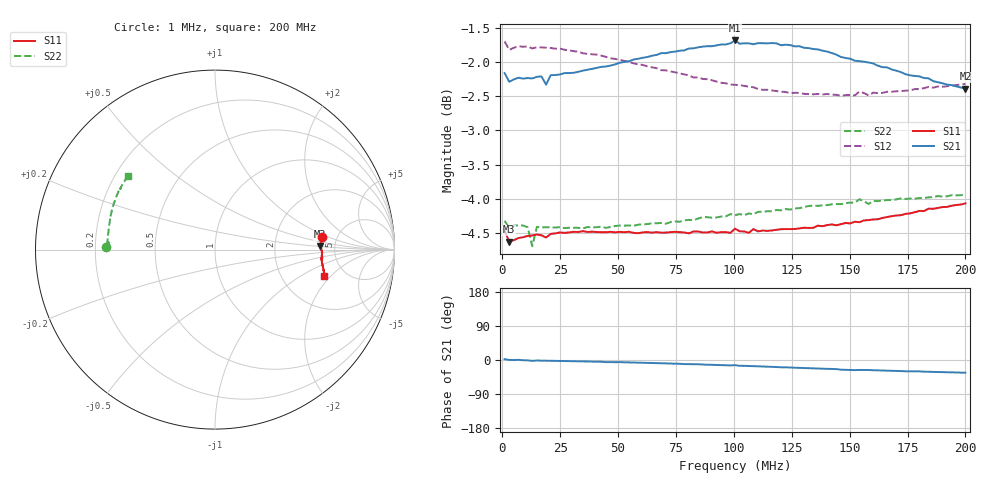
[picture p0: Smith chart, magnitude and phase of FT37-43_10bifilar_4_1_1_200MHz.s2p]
! Created with skrf 2.1.0 (http://scikit-rf.org).
# Hz S RI R 50.0
!freq ReS11 ImS11 ReS21 ImS21 ReS12 ImS12 ReS22 ImS22
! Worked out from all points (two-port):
!   101 points, 1 MHz to 200 MHz, reference 50 ohm
!   highest |S21| = -1.68 dB at 100.5 MHz (marker M1); lowest = -2.4 dB at 200 MHz (marker M2)
!   |S21| within 3 dB of the highest: start of sweep to end of sweep
!   lowest |S11| = -4.6 dB at 2.99 MHz (marker M3), VSWR 3.84, Z = 191 + j10.3 ohm
!   |S11| at or under -10 dB: nowhere
!   |S22| runs from -4.7 to -3.9 dB; largest |S21 - S12| = 0.076
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1000000  0.5944 0.0676  0.7792 0.0314  0.822 0.0324  -0.6077 0.0167
2990000  0.5866 0.0176  0.7685 0.00368  0.811 -0.00469  -0.6007 0.018
6970000  0.5905 0.00846  0.7738 0.00605  0.8162 -0.00304  -0.6029 0.0199
1.095e7  0.5926 0.00352  0.7733 -0.013  0.8152 -0.0283  -0.6007 0.0284
1.294e7  0.5931 0.0021  0.7722 -0.0304  0.8115 -0.048  -0.5806 0.0467
1.493e7  0.594 0.000855  0.7747 -0.0188  0.8136 -0.0401  -0.6006 0.0361
1.891e7  0.591 -0.00455  0.7644 -0.0255  0.8124 -0.051  -0.5997 0.045
2.09e7  0.5947 -0.00612  0.7766 -0.0287  0.8116 -0.0575  -0.5995 0.0479
3.483e7  0.5972 -0.0156  0.7815 -0.0501  0.8 -0.1008  -0.5947 0.0808
6.866e7  0.5948 -0.0368  0.7975 -0.1208  0.765 -0.17  -0.5881 0.1452
8.259e7  0.5954 -0.0461  0.7976 -0.1582  0.7469 -0.2038  -0.5818 0.1787
8.856e7  0.5941 -0.0493  0.7971 -0.1749  0.7455 -0.2004  -0.583 0.1852
9.851e7  0.5933 -0.0538  0.7944 -0.2036  0.7328 -0.2196  -0.5781 0.2094
1.005e8  0.5984 -0.043  0.801 -0.1935  0.7313 -0.2231  -0.5752 0.214
1.0249e8  0.5947 -0.0563  0.7908 -0.2153  0.7295 -0.2278  -0.5749 0.2182
1.3433e8  0.5961 -0.0752  0.7527 -0.305  0.7025 -0.2698  -0.5538 0.2867
1.4428e8  0.5976 -0.0831  0.7346 -0.328  0.6962 -0.2836  -0.5446 0.3075
1.5025e8  0.5988 -0.088  0.7165 -0.3537  0.6868 -0.3052  -0.5389 0.3203
1.5423e8  0.5999 -0.0892  0.7137 -0.352  0.695 -0.2973  -0.5415 0.3229
1.5821e8  0.6008 -0.0976  0.7112 -0.3528  0.6852 -0.3075  -0.5243 0.3409
1.6816e8  0.6035 -0.1056  0.6898 -0.3741  0.6827 -0.3242  -0.5199 0.3552
2e8  0.6084 -0.1475  0.6333 -0.4196  0.6584 -0.3912  -0.4843 0.4113
